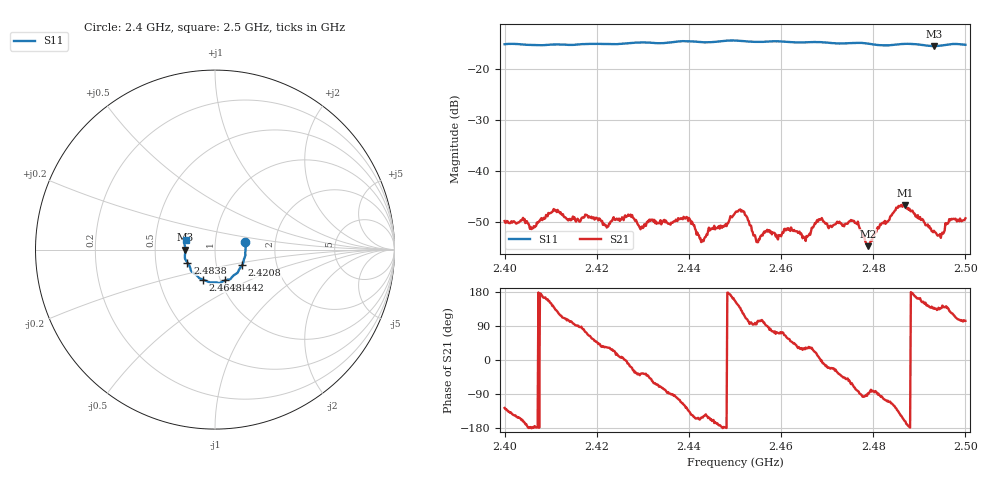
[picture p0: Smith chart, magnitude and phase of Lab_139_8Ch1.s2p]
# Hz S RI R 50
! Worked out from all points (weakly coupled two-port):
!   601 points, 2.4 GHz to 2.5 GHz, reference 50 ohm
!   highest |S21| = -46.67 dB at 2.4868 GHz (marker M1); lowest = -54.8 dB at 2.4788 GHz (marker M2)
!   lowest |S11| = -15.6 dB at 2.4932 GHz (marker M3), VSWR 1.40, Z = 35.8 - j0.0838 ohm
!   |S11| at or under -10 dB: start of sweep to end of sweep
!   S12 and S22 are empty: the file has one direction only
!   S11 on the Smith chart (normalised r, x): 2.4 GHz: 1.40, +0.12; 2.4208 GHz: 1.33, -0.24; 2.4442 GHz: 1.05, -0.37; 2.4648 GHz: 0.83, -0.29; 2.4838 GHz: 0.73, -0.11; 2.5 GHz: 0.72, +0.08
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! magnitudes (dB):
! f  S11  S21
! 2.4 GHz  -15.2  -49.8
! 2.406 GHz  -15.4  -51.3
! 2.411 GHz  -15.3  -47.6
! 2.4167 GHz  -15.2  -49.3
! 2.4208 GHz  -15.2  -49.7
! 2.4333 GHz  -15.0  -50.2
! 2.4392 GHz  -14.6  -49.4
! 2.4427 GHz  -14.8  -54.0
! 2.4442 GHz  -14.9  -51.7
! 2.45 GHz  -14.5  -48.3
! 2.452 GHz  -14.7  -48.0
! 2.4548 GHz  -14.8  -54.0
! 2.4617 GHz  -14.8  -51.5
! 2.4648 GHz  -14.9  -52.9
! 2.4667 GHz  -14.8  -51.1
! 2.4753 GHz  -15.0  -49.8
! 2.4788 GHz  -15.1  -54.8
! 2.4833 GHz  -15.5  -49.7
! 2.4838 GHz  -15.4  -48.8
! 2.4868 GHz  -15.2  -46.7
! 2.4932 GHz  -15.6  -51.7
! 2.5 GHz  -15.3  -49.3
